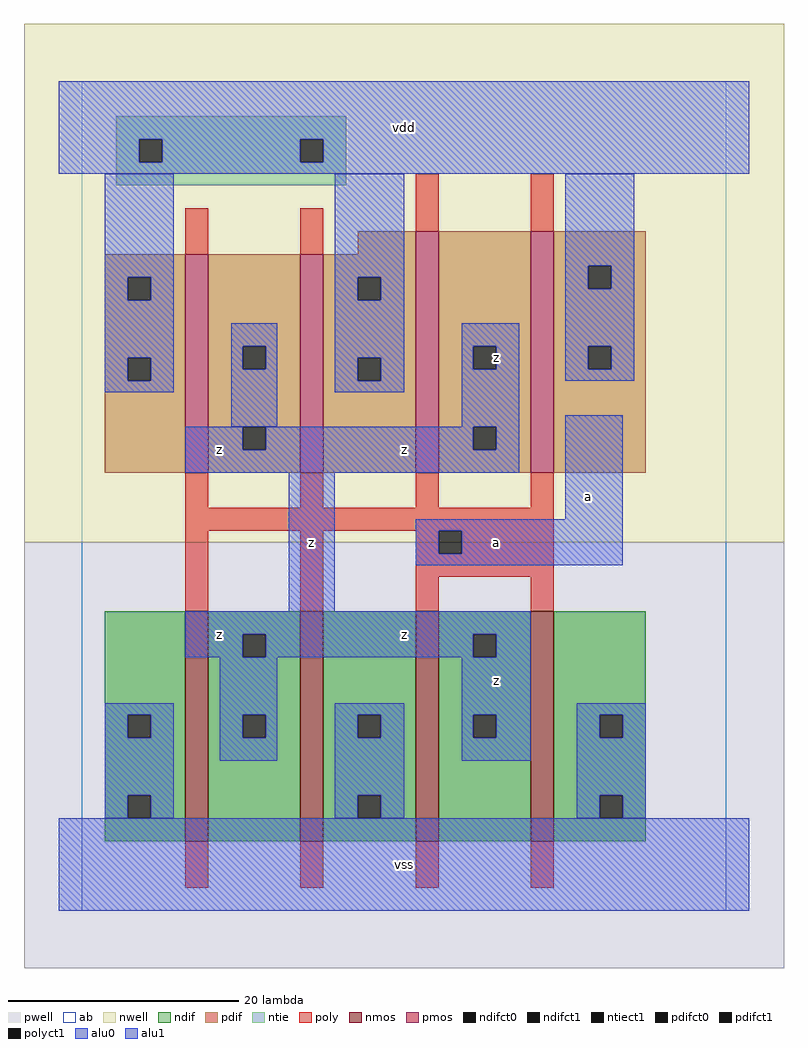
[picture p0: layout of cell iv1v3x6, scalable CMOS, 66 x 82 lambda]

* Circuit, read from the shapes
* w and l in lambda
.subckt iv1v3x6 a vdd vss z
M1 z a vss VSUBS nfet w=20 l=2 m=4
M2 z a vdd vdd pfet w=19 l=2 m=2
M3 z a vdd vdd pfet w=21 l=2 m=2
.ends

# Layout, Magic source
magic
tech scmos
<< ab >>
rect 0 0 56 72
<< nwell >>
rect -5 32 61 77
<< pwell >>
rect -5 -5 61 32
<< poly >>
rect 9 57 11 61
rect 19 57 21 61
rect 29 59 31 64
rect 39 59 41 64
rect 9 35 11 38
rect 19 35 21 38
rect 29 35 31 38
rect 39 35 41 38
rect 9 33 41 35
rect 9 26 11 33
rect 19 26 21 33
rect 29 31 31 33
rect 33 31 41 33
rect 29 29 41 31
rect 29 26 31 29
rect 39 26 41 29
rect 9 2 11 6
rect 19 2 21 6
rect 29 2 31 6
rect 39 2 41 6
<< ndif >>
rect 2 17 9 26
rect 2 15 4 17
rect 6 15 9 17
rect 2 10 9 15
rect 2 8 4 10
rect 6 8 9 10
rect 2 6 9 8
rect 11 24 19 26
rect 11 22 14 24
rect 16 22 19 24
rect 11 17 19 22
rect 11 15 14 17
rect 16 15 19 17
rect 11 6 19 15
rect 21 17 29 26
rect 21 15 24 17
rect 26 15 29 17
rect 21 10 29 15
rect 21 8 24 10
rect 26 8 29 10
rect 21 6 29 8
rect 31 24 39 26
rect 31 22 34 24
rect 36 22 39 24
rect 31 17 39 22
rect 31 15 34 17
rect 36 15 39 17
rect 31 6 39 15
rect 41 17 49 26
rect 41 15 45 17
rect 47 15 49 17
rect 41 10 49 15
rect 41 8 45 10
rect 47 8 49 10
rect 41 6 49 8
<< pdif >>
rect 24 57 29 59
rect 2 55 9 57
rect 2 53 4 55
rect 6 53 9 55
rect 2 48 9 53
rect 2 46 4 48
rect 6 46 9 48
rect 2 38 9 46
rect 11 49 19 57
rect 11 47 14 49
rect 16 47 19 49
rect 11 42 19 47
rect 11 40 14 42
rect 16 40 19 42
rect 11 38 19 40
rect 21 55 29 57
rect 21 53 24 55
rect 26 53 29 55
rect 21 48 29 53
rect 21 46 24 48
rect 26 46 29 48
rect 21 38 29 46
rect 31 49 39 59
rect 31 47 34 49
rect 36 47 39 49
rect 31 42 39 47
rect 31 40 34 42
rect 36 40 39 42
rect 31 38 39 40
rect 41 56 49 59
rect 41 54 44 56
rect 46 54 49 56
rect 41 49 49 54
rect 41 47 44 49
rect 46 47 49 49
rect 41 38 49 47
<< alu1 >>
rect -2 67 58 72
rect -2 65 5 67
rect 7 65 19 67
rect 21 65 58 67
rect -2 64 58 65
rect 33 49 38 51
rect 33 47 34 49
rect 36 47 38 49
rect 33 42 38 47
rect 9 40 14 42
rect 16 40 34 42
rect 36 40 38 42
rect 9 38 38 40
rect 18 26 22 38
rect 42 34 47 43
rect 29 33 47 34
rect 29 31 31 33
rect 33 31 47 33
rect 29 30 47 31
rect 9 24 39 26
rect 9 22 14 24
rect 16 22 34 24
rect 36 22 39 24
rect 12 17 17 22
rect 12 15 14 17
rect 16 15 17 17
rect 12 13 17 15
rect 33 17 39 22
rect 33 15 34 17
rect 36 15 39 17
rect 33 13 39 15
rect -2 0 58 8
<< ntie >>
rect 3 67 23 69
rect 3 65 5 67
rect 7 65 19 67
rect 21 65 23 67
rect 3 63 23 65
<< nmos >>
rect 9 6 11 26
rect 19 6 21 26
rect 29 6 31 26
rect 39 6 41 26
<< pmos >>
rect 9 38 11 57
rect 19 38 21 57
rect 29 38 31 59
rect 39 38 41 59
<< polyct1 >>
rect 31 31 33 33
<< ndifct0 >>
rect 4 15 6 17
rect 4 8 6 10
rect 24 15 26 17
rect 24 8 26 10
rect 45 15 47 17
rect 45 8 47 10
<< ndifct1 >>
rect 14 22 16 24
rect 14 15 16 17
rect 34 22 36 24
rect 34 15 36 17
<< ntiect1 >>
rect 5 65 7 67
rect 19 65 21 67
<< pdifct0 >>
rect 4 53 6 55
rect 4 46 6 48
rect 14 47 16 49
rect 24 53 26 55
rect 24 46 26 48
rect 44 54 46 56
rect 44 47 46 49
<< pdifct1 >>
rect 14 40 16 42
rect 34 47 36 49
rect 34 40 36 42
<< alu0 >>
rect 2 55 8 64
rect 2 53 4 55
rect 6 53 8 55
rect 2 48 8 53
rect 22 55 28 64
rect 22 53 24 55
rect 26 53 28 55
rect 2 46 4 48
rect 6 46 8 48
rect 2 45 8 46
rect 13 49 17 51
rect 13 47 14 49
rect 16 47 17 49
rect 13 42 17 47
rect 22 48 28 53
rect 42 56 48 64
rect 42 54 44 56
rect 46 54 48 56
rect 22 46 24 48
rect 26 46 28 48
rect 22 45 28 46
rect 42 49 48 54
rect 42 47 44 49
rect 46 47 48 49
rect 42 46 48 47
rect 2 17 8 18
rect 2 15 4 17
rect 6 15 8 17
rect 2 10 8 15
rect 22 17 28 18
rect 22 15 24 17
rect 26 15 28 17
rect 2 8 4 10
rect 6 8 8 10
rect 22 10 28 15
rect 43 17 49 18
rect 43 15 45 17
rect 47 15 49 17
rect 22 8 24 10
rect 26 8 28 10
rect 43 10 49 15
rect 43 8 45 10
rect 47 8 49 10
<< labels >>
rlabel alu1 12 24 12 24 6 z
rlabel alu1 20 32 20 32 6 z
rlabel alu1 12 40 12 40 6 z
rlabel alu1 28 4 28 4 6 vss
rlabel alu1 36 20 36 20 6 z
rlabel alu1 28 24 28 24 6 z
rlabel alu1 36 32 36 32 6 a
rlabel alu1 28 40 28 40 6 z
rlabel alu1 36 48 36 48 6 z
rlabel alu1 28 68 28 68 6 vdd
rlabel alu1 44 36 44 36 6 a
<< end >>
